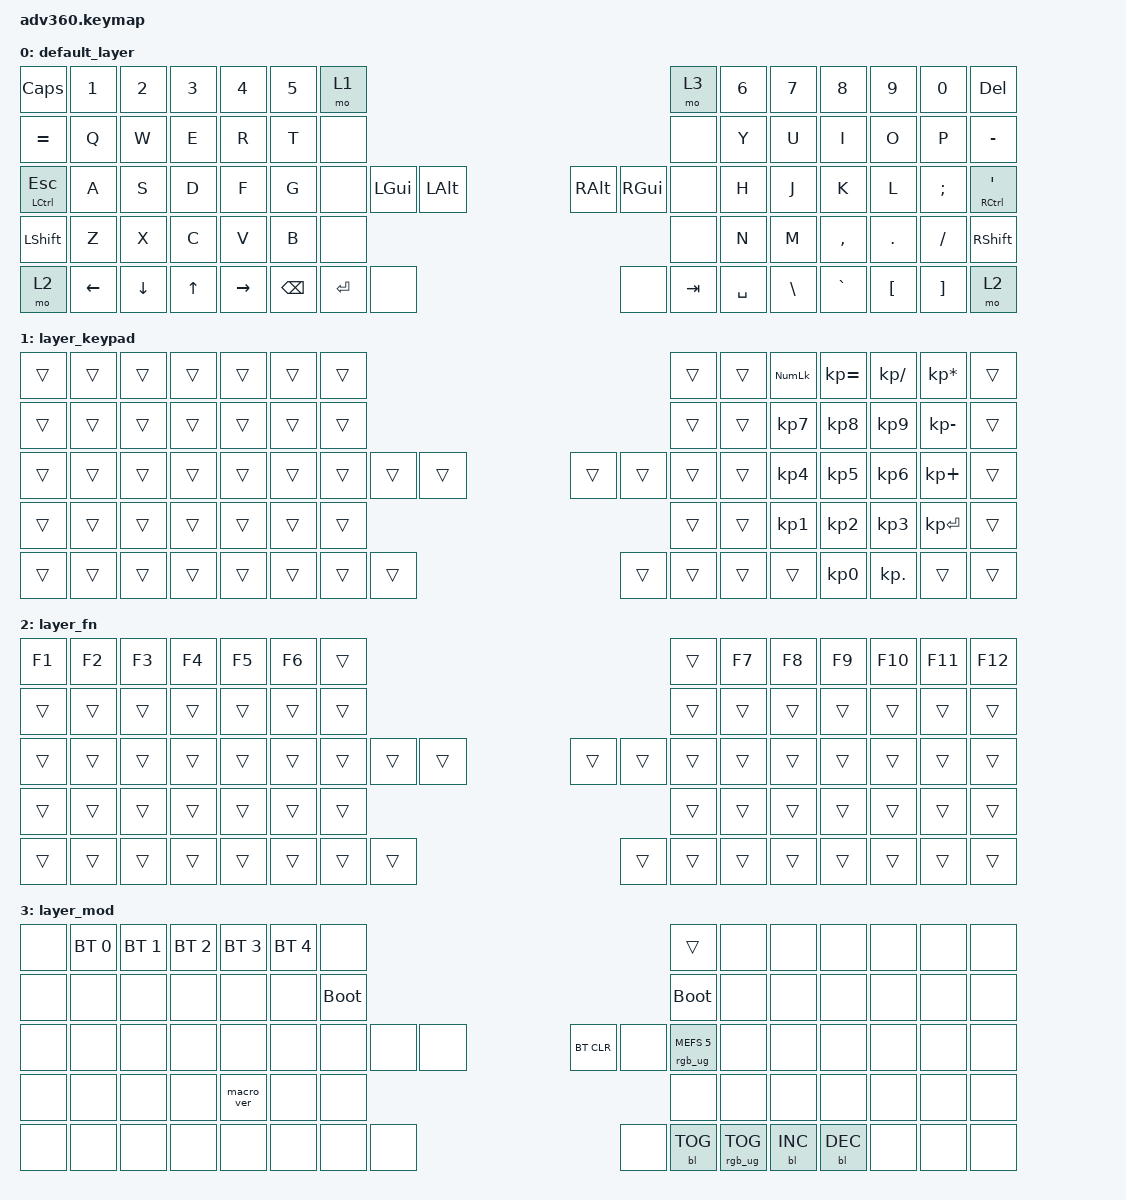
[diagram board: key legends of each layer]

/*
 * Copyright (c) 2020 The ZMK Contributors
 *
 * SPDX-License-Identifier: MIT
 */


/* THIS FILE WAS GENERATED!
 *
 * This file was generated automatically. You may or may not want to
 * edit it directly.
 */

#include <behaviors.dtsi>
#include <dt-bindings/zmk/keys.h>
#include <dt-bindings/zmk/bt.h>
#include <dt-bindings/zmk/rgb.h>
#include <dt-bindings/zmk/backlight.h>

/ {
  behaviors {
    #include "macros.dtsi"
    #include "version.dtsi"

    hm: homerow_mods {
        compatible = "zmk,behavior-hold-tap";
        label = "HOMEROW_MODS";
        #binding-cells = <2>;
        tapping-term-ms = <150>;
        quick_tap_ms = <0>;
        flavor = "tap-preferred";
        bindings = <&kp>, <&kp>;
    };
  };

    keymap {
        compatible = "zmk,keymap";


        default_layer {
            bindings = <
      &kp CAPS    &kp N1    &kp N2  &kp N3     &kp N4  &kp N5               &mo 1                                                               &mo 3  &kp N6    &kp N7     &kp N8    &kp N9    &kp N0        &kp DEL
     &kp EQUAL     &kp Q     &kp W   &kp E      &kp R   &kp T               &none                                                               &none   &kp Y     &kp U      &kp I     &kp O     &kp P      &kp MINUS
 &hm LCTRL ESC     &kp A     &kp S   &kp D      &kp F   &kp G               &none   &kp LGUI  &kp LALT                  &kp RALT  &kp RGUI      &none   &kp H     &kp J      &kp K     &kp L  &kp SEMI  &hm RCTRL SQT
     &kp LSHFT     &kp Z     &kp X   &kp C      &kp V   &kp B                                    &none                     &none                        &kp N     &kp M  &kp COMMA   &kp DOT  &kp FSLH      &kp RSHFT
         &mo 2  &kp LEFT  &kp DOWN  &kp UP  &kp RIGHT                    &kp BSPC  &kp ENTER     &none                     &none   &kp TAB  &kp SPACE          &kp BSLH  &kp GRAVE  &kp LBKT  &kp RBKT          &mo 2
            >;
        };

        layer_keypad {
            bindings = <
 &trans  &trans  &trans  &trans  &trans  &trans            &trans                                                  &trans  &trans  &kp KP_NUM  &kp KP_EQUAL  &kp KP_DIVIDE  &kp KP_MULTIPLY  &trans
 &trans  &trans  &trans  &trans  &trans  &trans            &trans                                                  &trans  &trans   &kp KP_N7     &kp KP_N8      &kp KP_N9     &kp KP_MINUS  &trans
 &trans  &trans  &trans  &trans  &trans  &trans            &trans  &trans  &trans                  &trans  &trans  &trans  &trans   &kp KP_N4     &kp KP_N5      &kp KP_N6      &kp KP_PLUS  &trans
 &trans  &trans  &trans  &trans  &trans  &trans                            &trans                  &trans                  &trans   &kp KP_N1     &kp KP_N2      &kp KP_N3     &kp KP_ENTER  &trans
 &trans  &trans  &trans  &trans  &trans                    &trans  &trans  &trans                  &trans  &trans  &trans              &trans     &kp KP_N0     &kp KP_DOT           &trans  &trans
            >;
        };

        layer_fn {
            bindings = <
 &kp F1  &kp F2  &kp F3  &kp F4  &kp F5  &kp F6            &trans                                                  &trans  &kp F7  &kp F8  &kp F9  &kp F10  &kp F11  &kp F12
 &trans  &trans  &trans  &trans  &trans  &trans            &trans                                                  &trans  &trans  &trans  &trans   &trans   &trans   &trans
 &trans  &trans  &trans  &trans  &trans  &trans            &trans  &trans  &trans                  &trans  &trans  &trans  &trans  &trans  &trans   &trans   &trans   &trans
 &trans  &trans  &trans  &trans  &trans  &trans                            &trans                  &trans                  &trans  &trans  &trans   &trans   &trans   &trans
 &trans  &trans  &trans  &trans  &trans                    &trans  &trans  &trans                  &trans  &trans  &trans          &trans  &trans   &trans   &trans   &trans
            >;
        };

        layer_mod {
            bindings = <
  &none  &bt BT_SEL 0  &bt BT_SEL 1  &bt BT_SEL 2  &bt BT_SEL 3  &bt BT_SEL 4                  &none                                                                          &trans   &none       &none       &none   &none   &none   &none
  &none         &none         &none         &none         &none         &none            &bootloader                                                                     &bootloader   &none       &none       &none   &none   &none   &none
  &none         &none         &none         &none         &none         &none                  &none   &none   &none                  &bt BT_CLR       &none  &rgb_ug RGB_MEFS_CMD 5   &none       &none       &none   &none   &none   &none
  &none         &none         &none         &none    &macro_ver         &none                                  &none                       &none                                       &none       &none       &none   &none   &none   &none
  &none         &none         &none         &none         &none                                &none   &none   &none                       &none  &bl BL_TOG         &rgb_ug RGB_TOG          &bl BL_INC  &bl BL_DEC   &none   &none   &none
            >;
        };

    };
};
